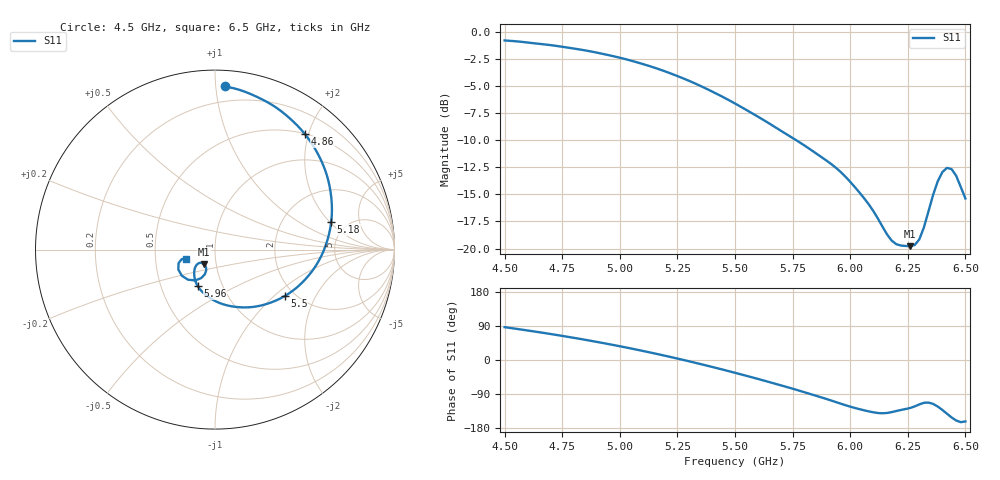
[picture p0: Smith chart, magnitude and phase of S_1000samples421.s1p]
! TOUCHSTONE file generated by CST MICROWAVE STUDIO
! Date and time: Fri Oct 28 03:05:39 2022
! Project name: L.cst
! Parameters = {Di=1.27; Epsilon_r=1.56; InnerDiameter=1.27; Length=2; Lf=10; Lg=60; OuterConductorThickness=0.2921; OuterDiameter=3.6; Wf=3; Wp=41.2; de=1.5; df=6.8; g=0.8; gx=3.10675; gy=3.40124; h=2.34; hf=1.524; px=13.589; py=9.75116; w=9.7; wx=10.4822; wy=6.34993}
! Header version: 2018
! Port assignment regex: !\s*Touchstone port\s*([0-9]+)\s*=\s*(CST MWS port|CST DS port)\s*([0-9]+|Zmin|Zmax)\s*\(\"(.*)\"\)(\s*mode\s*([0-9]+))?.*
! Touchstone port assignment:
! Touchstone port 1 = CST MWS port 1 ("")
# GHz S DB R 50
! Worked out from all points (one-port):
!   101 points, 4.5 GHz to 6.5 GHz, reference 50 ohm
!   lowest |S11| = -19.8 dB at 6.26 GHz (marker M1), VSWR 1.23, Z = 43.7 - j7.26 ohm
!   |S11| at or under -10 dB: 5.765 GHz to end of sweep
!   S11 on the Smith chart (normalised r, x): 4.5 GHz: 0.10, +1.06; 4.86 GHz: 0.50, +1.94; 5.18 GHz: 3.76, +2.09; 5.5 GHz: 1.77, -1.17; 5.96 GHz: 0.76, -0.33; 6.5 GHz: 0.72, -0.08
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4.5  -0.81 86.7
4.64  -1.10 74.2
4.76  -1.42 62.6
4.86  -1.77 52.2
5  -2.40 36.3
5.1  -2.99 23.9
5.18  -3.53 13.4
5.26  -4.18 2.4
5.38  -5.31 -15.2
5.5  -6.62 -33.8
5.62  -8.10 -53.4
5.76  -9.93 -77.5
5.86  -11.34 -95.9
5.96  -12.96 -115.4
6  -13.84 -123.1
6.08  -15.91 -135.5
6.18  -19.27 -137.6
6.26  -19.78 -126.7
6.28  -19.67 -122.5
6.3  -19.15 -117.2
6.34  -16.55 -112.3
6.38  -13.80 -122.8
6.4  -12.95 -131.8
6.42  -12.56 -141.8
6.44  -12.67 -151.5
6.46  -13.29 -159.7
6.48  -14.33 -164.1
6.5  -15.38 -162.1
